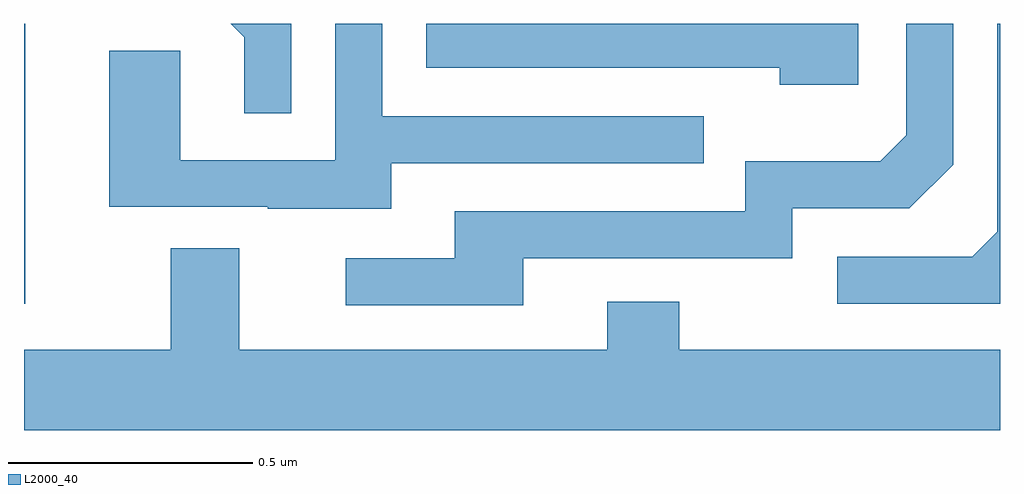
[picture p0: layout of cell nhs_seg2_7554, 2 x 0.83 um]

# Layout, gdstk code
import gdstk
lib = gdstk.Library(unit=1e-6, precision=1e-09)
def R(c, l, rs):  # rectangles x0, y0, x1, y1
    for r in rs: c.add(gdstk.rectangle(r[:2], r[2:], *l))
def P(c, l, *ps):  # polygons
    for p in ps: c.add(gdstk.Polygon(p, *l))
L2000_40 = (2000, 40)

nhs_seg2_7554 = lib.new_cell('nhs_seg2_7554')
R(nhs_seg2_7554, L2000_40, [(205,649.227,205.003,649.8)])
P(nhs_seg2_7554, L2000_40, [(207,649.8),(206.994,649.8),(206.994,649.374),(206.943,649.323),(206.667,649.323),(206.667,649.227),(207,649.227)],
  [(205.548,649.8),(205.424,649.8),(205.451,649.773),(205.451,649.617),(205.548,649.617)],
  [(206.71,649.8),(205.824,649.8),(205.824,649.71),(206.549,649.71),(206.549,649.676),(206.71,649.676)],
  [(206.023,649.32),(206.574,649.32),(206.574,649.422),(206.814,649.422),(206.904,649.512),(206.904,649.8),(206.808,649.8),(206.808,649.572),(206.755,649.519),(206.478,649.519),(206.478,649.416),(205.883,649.416),(205.883,649.32),(205.659,649.32),(205.659,649.224),(206.023,649.224)],
  [(205.753,649.515),(206.393,649.515),(206.393,649.611),(205.734,649.611),(205.734,649.8),(205.638,649.8),(205.638,649.521),(205.32,649.521),(205.32,649.745),(205.175,649.745),(205.175,649.425),(205.499,649.425),(205.499,649.421),(205.753,649.421)],
  [(207,649.132),(206.343,649.132),(206.343,649.231),(206.195,649.231),(206.195,649.132),(205.441,649.132),(205.441,649.34),(205.301,649.34),(205.301,649.132),(205,649.132),(205,648.968),(207,648.968)])

lib.write_gds('nhs_seg2_7554.gds')
